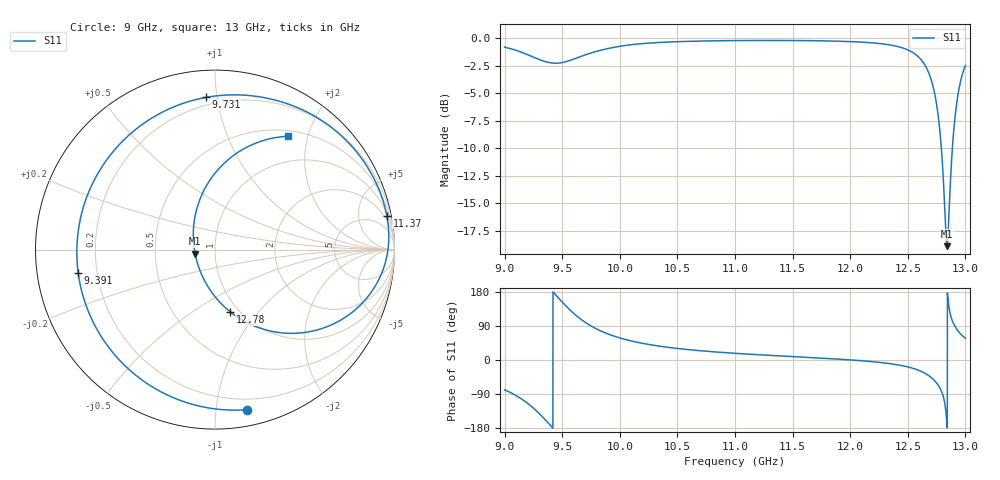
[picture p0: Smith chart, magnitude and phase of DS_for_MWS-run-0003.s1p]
! TOUCHSTONE file generated by CST DESIGN STUDIO
! Date and time: Tue Feb  4 18:25:11 2025
! Project name: C:\Work\MatlabApps\UnitCellOptimizationMatlab\CST\unitcell.cst
! Tree item: Tasks\Sweep1\SPara1\S-Parameters
! Header version: 2024
! Port assignment regex: !\s*Touchstone port\s*([0-9]+)\s*=\s*(CST MWS port|CST DES external port|CST DES block port)\s*(.+)\s* \(\"(.*)\"\)(\s*mode\s*([0-9]+))?.*
! Touchstone port assignment:
! Touchstone port 1 = CST DES external port 1 ("")
# GHz S MA R 50
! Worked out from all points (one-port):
!   4001 points, 9 GHz to 13 GHz, reference 50 ohm
!   lowest |S11| = -18.9 dB at 12.84 GHz (marker M1), VSWR 1.26, Z = 40 - j1.87 ohm
!   |S11| at or under -10 dB: 12.79 GHz to 12.89 GHz (95.74 MHz wide, 0.746 % of centre)
!   S11 on the Smith chart (normalised r, x): 9 GHz: 0.12, -1.21; 9.391 GHz: 0.13, -0.08; 9.731 GHz: 0.15, +0.93; 11.37 GHz: 1, +10; 12.78 GHz: 0.91, -0.72; 13 GHz: 0.58, +1.68
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9  0.9096 -78.7
9.115  0.8744 -96.7
9.209  0.8373 -116.6
9.295  0.8016 -139.6
9.391  0.7734 -170.3
9.5  0.7745 152.9
9.612  0.8072 119.8
9.731  0.8497 93.3
9.86  0.8876 73.3
10  0.9181 58.2
10.217  0.9463 42.8
10.5  0.9636 30.5
11  0.9745 17.6
11.365  0.9758 11.2
11.5  0.9752 9.0
12  0.9644 0.3
12.312  0.9369 -8.3
12.5  0.8842 -18.3
12.655  0.7443 -36.0
12.729  0.5732 -53.4
12.783  0.3569 -76.3
12.826  0.1454 -124.7
12.84  0.1133 -168.3
12.854  0.1441 147.1
12.875  0.2498 113.9
12.915  0.4615 86.2
12.954  0.6227 70.3
13  0.7511 57.2
